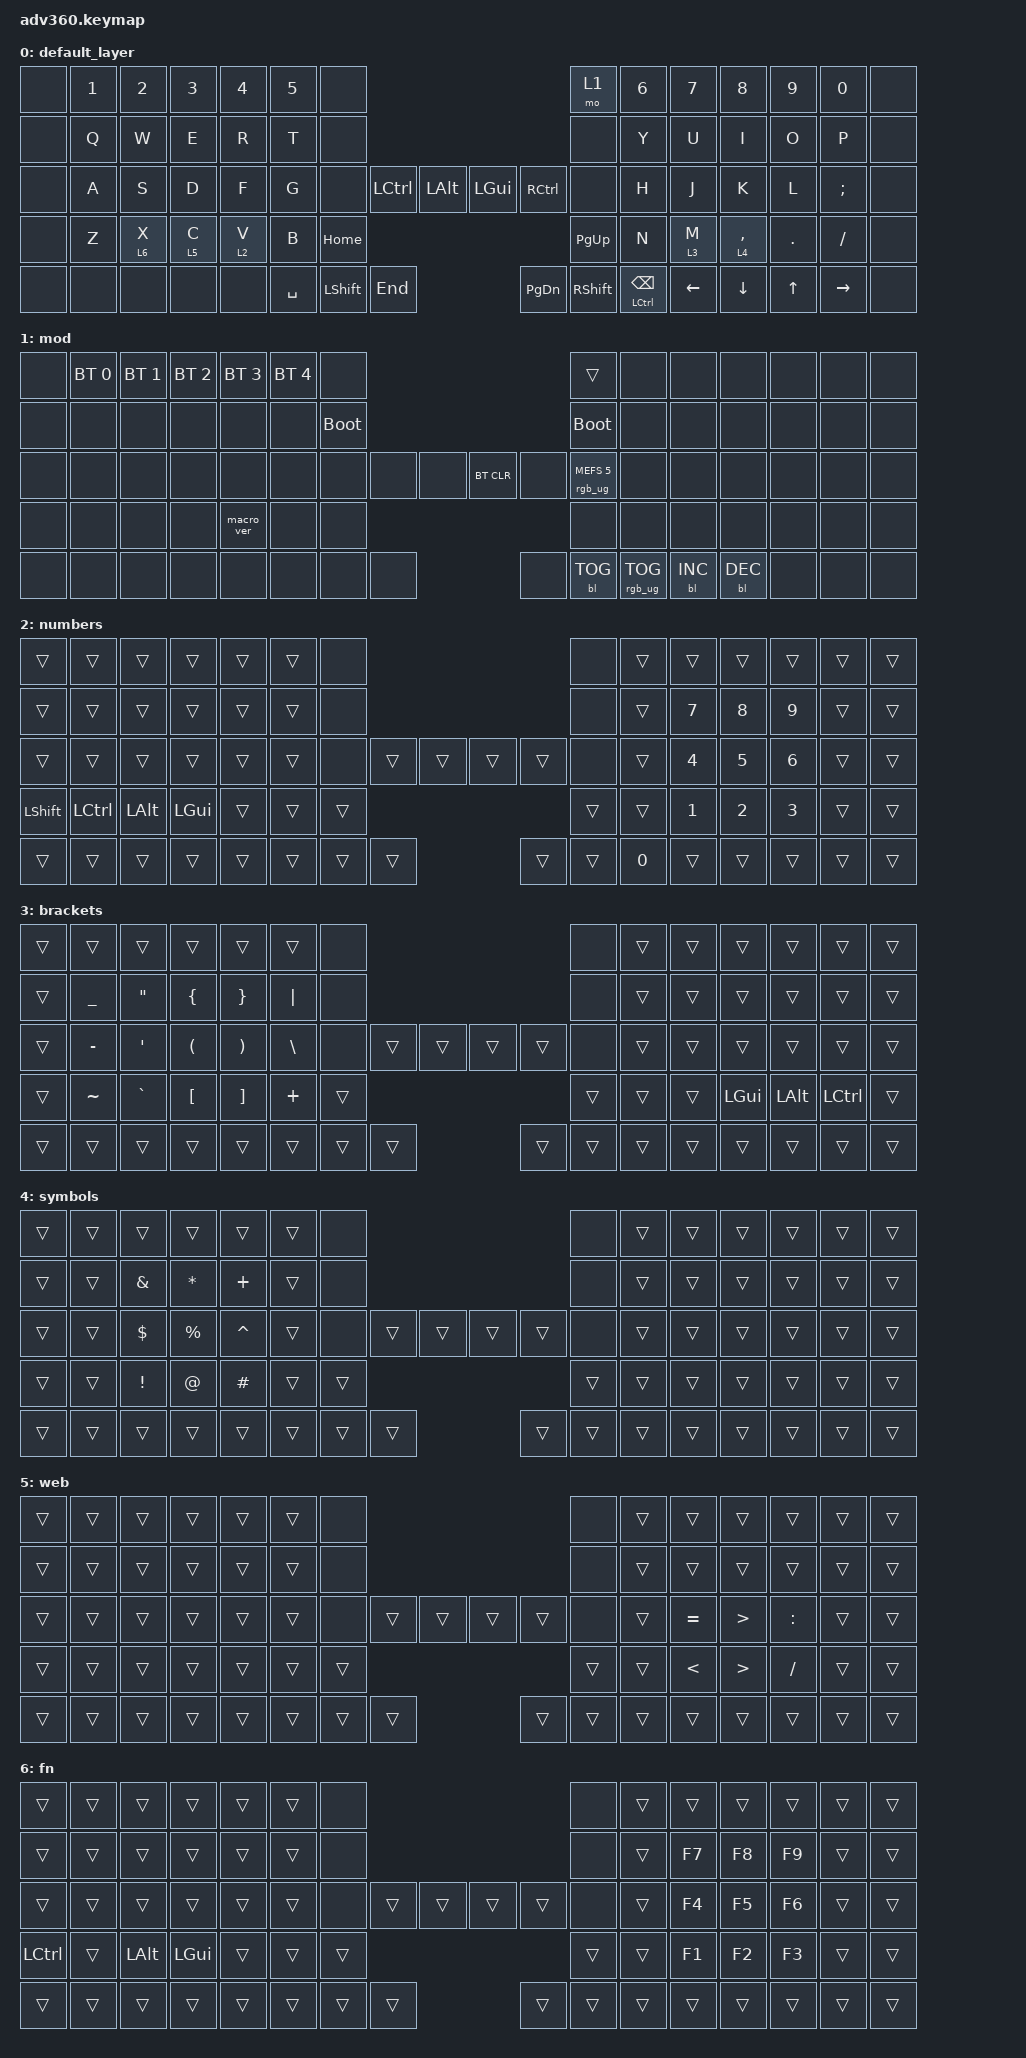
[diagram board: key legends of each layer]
#include <behaviors.dtsi>
#include <dt-bindings/zmk/keys.h>
#include <dt-bindings/zmk/bt.h>
#include <dt-bindings/zmk/rgb.h>
#include <dt-bindings/zmk/backlight.h>

/ {
    combos {
      compatible = "zmk,combos";
      lctrl {
          timeout-ms = <45>;
          key-positions = <29 30>;
          bindings = <&kp LCTRL>;
      };
      lalt {
          timeout-ms = <45>;
          key-positions = <30 31>;
          bindings = <&kp LALT>;
      };
      lcmd {
          timeout-ms = <45>;
          key-positions = <31 32>;
          bindings = <&kp LEFT_COMMAND>;
      };
      laltcmd {
          timeout-ms = <45>;
          key-positions = <30 31 32>;
          bindings = <&kp LA(LEFT_COMMAND)>;
      };
      lctrlcmd {
          timeout-ms = <45>;
          key-positions = <29 31 32>;
          bindings = <&kp LC(LEFT_COMMAND)>;
      };
      rctrl {
          timeout-ms = <45>;
          key-positions = <44 43>;
          bindings = <&kp RCTRL>;
      };
      ralt {
          timeout-ms = <45>;
          key-positions = <43 42>;
          bindings = <&kp RALT>;
      };
      rcmd {
          timeout-ms = <45>;
          key-positions = <42 41>;
          bindings = <&kp RIGHT_COMMAND>;
      };
      creturn {
          timeout-ms = <45>;
          key-positions = <41 43>;
          bindings = <&kp RETURN>;
      };
      ctab {
          timeout-ms = <45>;
          key-positions = <30 32>;
          bindings = <&kp TAB>;
      };
      escr {
          timeout-ms = <45>;
          key-positions = <29 32>;
          bindings = <&kp ESC>;
      };
    };
    behaviors {
      #include "macros.dtsi"
      #include "version.dtsi"
      #ifndef VERSION_MACRO
      macro_ver: macro_ver {
        compatible = "zmk,behavior-macro";
        label = "macro_version";
        #binding-cells = <0>;
        bindings = <&kp RET>;
      };
      #endif

      hm: homerow_mods {
          compatible = "zmk,behavior-hold-tap";
          label = "HOMEROW_MODS";
          #binding-cells = <2>;
          tapping-term-ms = <200>;
          quick_tap_ms = <175>;
          flavor = "tap-preferred";
          bindings = <&kp>, <&kp>;
      };
    };


    keymap {
        compatible = "zmk,keymap";

    default_layer {
      bindings = <
        &none     &kp N1    &kp N2     &kp N3     &kp N4       &kp N5 &none                                                                  &mo 1 &kp N6 &kp N7   &kp N8      &kp N9   &kp N0    &none
        &none     &kp Q     &kp W      &kp E      &kp R        &kp T  &none                                                                  &none &kp Y  &kp U    &kp I       &kp O    &kp P     &none
        &none     &kp A     &kp S      &kp D      &kp F        &kp G  &none           &kp LCTRL &kp LALT &kp LGUI  &kp RCTRL                 &none &kp H  &kp J    &kp K       &kp L    &kp SEMI  &none
        &none     &kp Z     &lt 6 X    &lt 5 C    &lt 2 V      &kp B                          &kp HOME &kp PG_UP                                   &kp N  &lt 3 M  &lt 4 COMMA &kp DOT  &kp FSLH  &none
        &none     &none     &none      &none      &none                 &kp SPACE &kp LSHFT   &kp END  &kp PG_DN &kp RSHFT &mt LCTRL BSPC                 &kp LEFT &kp DOWN    &kp UP   &kp RIGHT &none
      >;
      };
      mod {
        bindings = <
          &none &bt BT_SEL 0 &bt BT_SEL 1 &bt BT_SEL 2 &bt BT_SEL 3 &bt BT_SEL 4 &none                                                                     &trans                 &none        &none        &none        &none &none &none
          &none &none        &none        &none        &none        &none        &bootloader                                                               &bootloader            &none        &none        &none        &none &none &none
          &none &none        &none        &none        &none        &none        &none                   &none &none &bt BT_CLR &none                      &rgb_ug RGB_MEFS_CMD 5 &none        &none        &none        &none &none &none
          &none &none        &none        &none        &macro_ver   &none                                      &none &none                                                        &none        &none        &none        &none &none &none
          &none &none        &none        &none        &none                                       &none &none &none &none      &bl BL_TOG &rgb_ug RGB_TOG                                     &bl BL_INC   &bl BL_DEC   &none &none &none
        >;
      };
      numbers {
        bindings = <
          &trans    &trans    &trans    &trans    &trans &trans  &none                                           &none &trans &trans &trans &trans  &trans  &trans
          &trans    &trans    &trans    &trans    &trans &trans  &none                                           &none &trans &kp N7 &kp N8 &kp N9  &trans  &trans
          &trans    &trans    &trans    &trans    &trans &trans  &none        &trans &trans &trans &trans        &none &trans &kp N4 &kp N5 &kp N6  &trans  &trans
          &kp LSHFT &kp LCTRL &kp LALT  &kp LGUI  &trans &trans                      &trans &trans                     &trans &kp N1 &kp N2 &kp N3  &trans  &trans
          &trans    &trans    &trans    &trans    &trans               &trans &trans &trans &trans &trans &kp N0              &trans &trans &trans  &trans  &trans
        >;
      };
      brackets {
        bindings = <
          &trans &trans    &trans    &trans   &trans   &trans    &none                                           &none &trans &trans &trans    &trans    &trans     &trans
          &trans &kp UNDER &kp DQT   &kp LBRC &kp RBRC &kp PIPE  &none                                           &none &trans &trans &trans    &trans    &trans     &trans
          &trans &kp MINUS &kp SQT   &kp LPAR &kp RPAR &kp BSLH  &none         &trans &trans &trans &trans       &none &trans &trans &trans    &trans    &trans     &trans
          &trans &kp TILDE &kp GRAVE &kp LBKT &kp RBKT &kp PLUS                      &trans &trans                     &trans &trans &kp LGUI  &kp LALT  &kp LCTRL  &trans
          &trans &trans    &trans    &trans   &trans                  &trans  &trans &trans &trans &trans &trans              &trans &trans    &trans    &trans     &trans
        >;
      };

      symbols {
        bindings = <
          &trans &trans   &trans          &trans      &trans    &trans  &none                                           &none &trans &trans &trans &trans  &trans  &trans
          &trans &trans   &kp AMPERSAND   &kp STAR    &kp PLUS  &trans  &none                                           &none &trans &trans &trans &trans  &trans  &trans
          &trans &trans   &kp DOLLAR      &kp PERCENT &kp CARET &trans  &none        &trans &trans &trans &trans        &none &trans &trans &trans &trans  &trans  &trans
          &trans &trans   &kp EXCLAMATION &kp AT_SIGN &kp HASH  &trans                      &trans &trans                     &trans &trans &trans &trans  &trans  &trans
          &trans &trans   &trans          &trans      &trans                  &trans &trans &trans &trans &trans &trans              &trans &trans &trans  &trans  &trans
        >;
      };
      web {
        bindings = <
          &trans &trans &trans &trans &trans &trans  &none                                           &none &trans &trans    &trans  &trans     &trans &trans
          &trans &trans &trans &trans &trans &trans  &none                                           &none &trans &trans    &trans  &trans     &trans &trans
          &trans &trans &trans &trans &trans &trans  &none        &trans &trans &trans &trans        &none &trans &kp EQUAL &kp GT  &kp COLON  &trans &trans
          &trans &trans &trans &trans &trans &trans                      &trans &trans                     &trans &kp LT    &kp GT  &kp SLASH  &trans &trans
          &trans &trans &trans &trans &trans               &trans &trans &trans &trans &trans &trans              &trans    &trans  &trans     &trans &trans
        >;
      };
      fn {
        bindings = <
          &trans    &trans    &trans    &trans    &trans &trans  &none                                           &none &trans &trans &trans &trans  &trans  &trans
          &trans    &trans    &trans    &trans    &trans &trans  &none                                           &none &trans &kp F7 &kp F8 &kp F9  &trans  &trans
          &trans    &trans    &trans    &trans    &trans &trans  &none        &trans &trans &trans &trans        &none &trans &kp F4 &kp F5 &kp F6  &trans  &trans
          &kp LCTRL &trans    &kp LALT  &kp LGUI  &trans &trans                      &trans &trans                     &trans &kp F1 &kp F2 &kp F3  &trans  &trans
          &trans    &trans    &trans    &trans    &trans               &trans &trans &trans &trans &trans &trans              &trans &trans &trans  &trans  &trans
        >;
      };
    };
  };
